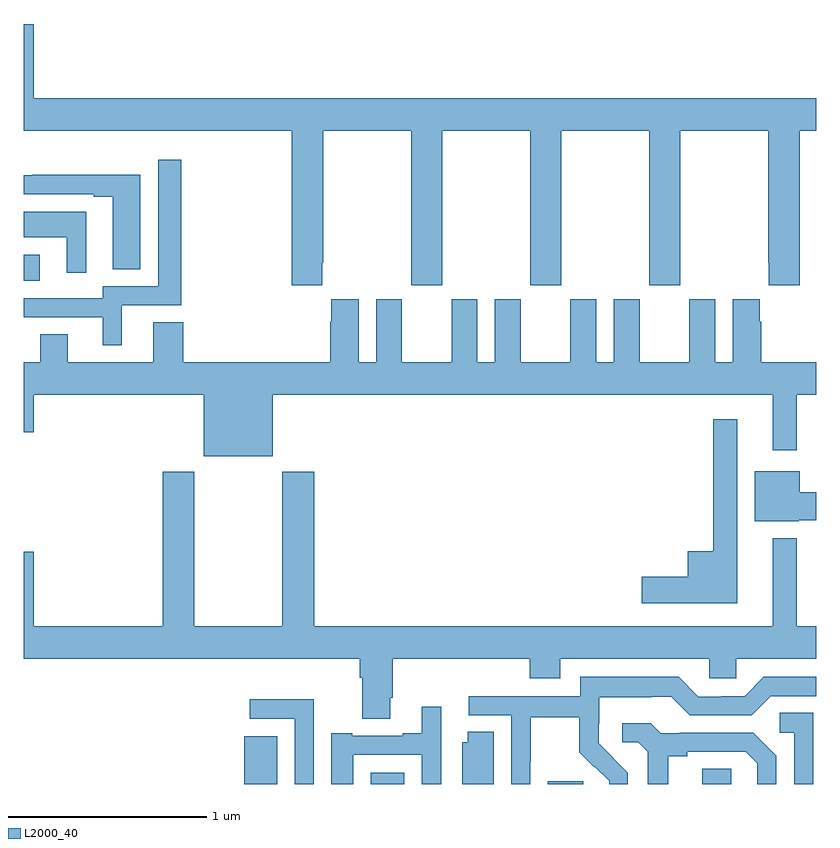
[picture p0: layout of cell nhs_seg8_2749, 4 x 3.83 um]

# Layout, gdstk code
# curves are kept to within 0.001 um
import gdstk
lib = gdstk.Library(unit=1e-6, precision=1e-09)
def R(c, l, rs):  # rectangles x0, y0, x1, y1
    for r in rs: c.add(gdstk.rectangle(r[:2], r[2:], *l))
def P(c, l, *ps):  # polygons
    for p in ps: c.add(gdstk.Polygon(p, *l))
L2000_40 = (2000, 40)

nhs_seg8_2749 = lib.new_cell('nhs_seg8_2749')
R(nhs_seg8_2749, L2000_40, [(286.112,1083.9,286.279,1084.141), (286.751,1083.9,286.921,1083.958), (287.645,1083.9,287.824,1083.915), (288.425,1083.9,288.57,1083.977), (285,1086.44,285.082,1086.571)])
P(nhs_seg8_2749, L2000_40, [(286.507,1086.529),(286.512,1086.529),(286.512,1087.196),(286.957,1087.196),(286.957,1086.417),(287.112,1086.417),(287.112,1087.196),(287.557,1087.196),(287.557,1086.417),(287.712,1086.417),(287.712,1087.196),(288.157,1087.196),(288.157,1086.417),(288.312,1086.417),(288.312,1087.196),(288.757,1087.196),(288.757,1086.529),(288.761,1086.529),(288.761,1086.417),(288.917,1086.417),(288.917,1087.196),(289,1087.196),(289,1087.36),(285.052,1087.36),(285.052,1087.735),(285,1087.735),(285,1087.196),(286.352,1087.196),(286.352,1086.417),(286.507,1086.417)],
  [(285.496,1086.315),(285.794,1086.315),(285.794,1087.051),(285.678,1087.051),(285.678,1086.411),(285.399,1086.411),(285.399,1086.351),(285,1086.351),(285,1086.255),(285.398,1086.255),(285.398,1086.114),(285.496,1086.114)],
  [(285.589,1086.975),(285.043,1086.975),(285.043,1086.972),(285,1086.972),(285,1086.876),(285.353,1086.876),(285.353,1086.864),(285.449,1086.864),(285.449,1086.498),(285.589,1086.498)],
  [(285.316,1086.787),(285,1086.787),(285,1086.659),(285.218,1086.659),(285.218,1086.48),(285.316,1086.48)],
  [(286.258,1085.864),(288.779,1085.864),(288.779,1085.583),(288.901,1085.583),(288.901,1085.864),(289,1085.864),(289,1086.028),(288.722,1086.028),(288.722,1086.233),(288.715,1086.233),(288.715,1086.346),(288.578,1086.346),(288.578,1086.028),(288.49,1086.028),(288.49,1086.346),(288.359,1086.346),(288.359,1086.028),(288.109,1086.028),(288.109,1086.346),(287.978,1086.346),(287.978,1086.028),(287.89,1086.028),(287.89,1086.346),(287.759,1086.346),(287.759,1086.028),(287.509,1086.028),(287.509,1086.346),(287.378,1086.346),(287.378,1086.028),(287.29,1086.028),(287.29,1086.346),(287.159,1086.346),(287.159,1086.028),(286.909,1086.028),(286.909,1086.346),(286.778,1086.346),(286.778,1086.028),(286.69,1086.028),(286.69,1086.346),(286.553,1086.346),(286.553,1086.233),(286.547,1086.233),(286.547,1086.028),(285.806,1086.028),(285.806,1086.23),(285.653,1086.23),(285.653,1086.028),(285.223,1086.028),(285.223,1086.17),(285.083,1086.17),(285.083,1086.028),(285,1086.028),(285,1085.676),(285.052,1085.676),(285.052,1085.864),(285.908,1085.864),(285.908,1085.555),(286.258,1085.555)],
  [(288.601,1085.74),(288.48,1085.74),(288.48,1085.074),(288.35,1085.074),(288.35,1084.946),(288.12,1084.946),(288.12,1084.811),(288.601,1084.811)],
  [(288.912,1085.231),(289,1085.231),(289,1085.373),(288.916,1085.373),(288.916,1085.479),(288.689,1085.479),(288.689,1085.225),(288.912,1085.225)],
  [(285,1085.071),(285,1084.532),(286.697,1084.532),(286.697,1084.436),(286.709,1084.436),(286.709,1084.228),(286.849,1084.228),(286.849,1084.336),(286.862,1084.336),(286.862,1084.532),(287.555,1084.532),(287.555,1084.433),(287.707,1084.433),(287.707,1084.532),(288.459,1084.532),(288.459,1084.434),(288.597,1084.434),(288.597,1084.532),(289,1084.532),(289,1084.696),(288.901,1084.696),(288.901,1085.14),(288.779,1085.14),(288.779,1084.696),(286.466,1084.696),(286.466,1085.476),(286.306,1085.476),(286.306,1084.696),(285.861,1084.696),(285.861,1085.476),(285.701,1085.476),(285.701,1084.696),(285.052,1084.696),(285.052,1085.071)],
  [(287.556,1084.012),(287.559,1084.012),(287.559,1084.236),(287.803,1084.236),(287.803,1084.061),(287.88,1083.984),(287.883,1083.987),(287.954,1083.917),(287.954,1083.9),(288.048,1083.9),(288.048,1083.958),(287.902,1084.106),(287.902,1084.203),(287.904,1084.203),(287.904,1084.337),(288.167,1084.337),(288.167,1084.341),(288.267,1084.341),(288.36,1084.248),(288.675,1084.248),(288.771,1084.344),(289,1084.344),(289,1084.44),(288.735,1084.44),(288.639,1084.344),(288.521,1084.344),(288.521,1084.341),(288.405,1084.341),(288.305,1084.441),(287.808,1084.441),(287.808,1084.344),(287.247,1084.344),(287.247,1084.248),(287.46,1084.248),(287.46,1083.9),(287.556,1083.9)],
  [(286.464,1084.328),(286.14,1084.328),(286.14,1084.23),(286.368,1084.23),(286.368,1083.9),(286.464,1083.9)],
  [(286.663,1084.047),(287.01,1084.047),(287.01,1083.9),(287.106,1083.9),(287.106,1084.291),(287.009,1084.291),(287.009,1084.156),(286.913,1084.156),(286.913,1084.143),(286.657,1084.143),(286.657,1084.156),(286.553,1084.156),(286.553,1083.9),(286.663,1083.9)],
  [(288.984,1084.259),(288.816,1084.259),(288.816,1084.158),(288.888,1084.158),(288.888,1083.9),(288.984,1083.9)],
  [(288.253,1084.04),(288.349,1084.04),(288.349,1084.062),(288.644,1084.062),(288.701,1084.005),(288.701,1083.9),(288.798,1083.9),(288.798,1084.042),(288.682,1084.158),(288.31,1084.158),(288.31,1084.155),(288.216,1084.155),(288.164,1084.207),(288.021,1084.207),(288.021,1084.11),(288.102,1084.11),(288.149,1084.063),(288.149,1083.9),(288.253,1083.9)],
  [(287.371,1084.163),(287.24,1084.163),(287.24,1084.11),(287.213,1084.11),(287.213,1083.9),(287.371,1083.9)])

lib.write_gds('nhs_seg8_2749.gds')
